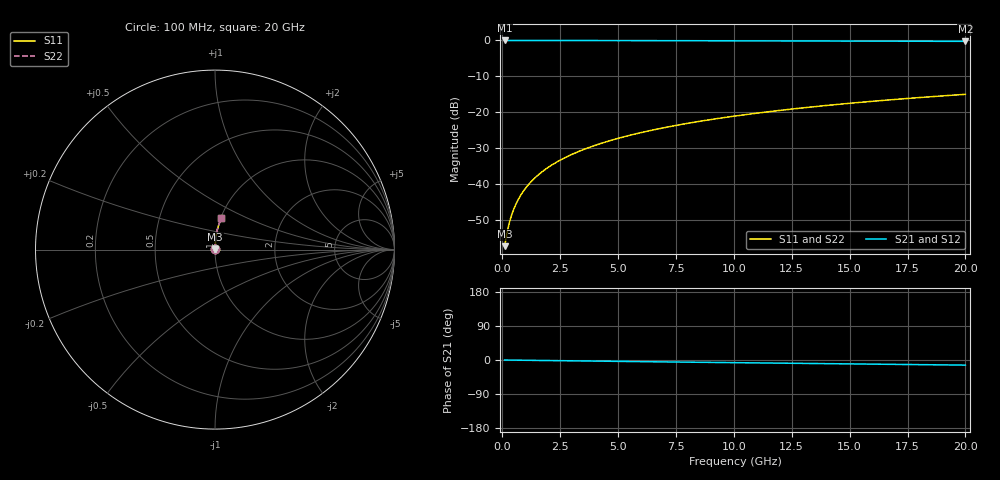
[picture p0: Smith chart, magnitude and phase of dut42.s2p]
! Touchstone file exported from HFSS 2024.1.0
!  File:  C:/UserFiles/LocalFiles/RDL_TSV_Batchsim/temp_RDL_bottom_42_1778692606.aedt
!  Generated:  01:19:20 AM May 14, 2026
!  Design:  RDL_bottom
!  Project:  temp_RDL_bottom_42_1778692606
!  Setup:  Setup1
!  Solution:  Sweep
! Variables:
!  dtsv = 10.80580581um
!  hbump = 3um
!  htsv = 65.14um
!  ldown = 133.52um
!  lrdl = 100um
!  p = 40
!  p1 = 51.97um
!  rhole = 1um
!  t = 450um
!  tdown = 3.66um
!  trdl = 3.915915916um
!  wdown = 15.35um
!  wrdl = 20um
# GHz S MA R 50.000000
! Terminal data exported
! Port[1] = RDL1_T1
! Port[2] = RDL1_T2
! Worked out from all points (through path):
!   200 points, 100 MHz to 20 GHz, reference 50 ohm
!   highest |S21| = -0.01 dB at 100 MHz (marker M1); lowest = -0.3 dB at 20 GHz (marker M2)
!   group delay of S21, straight-line fit = 1.86 ps
!   lowest |S11| = -57.4 dB at 100 MHz (marker M3), VSWR 1.00, Z = 50.1 + j0.0891 ohm
!   |S11| at or under -10 dB: start of sweep to end of sweep
!   |S22| runs from -57.4 to -15.0 dB; largest |S21 - S12| = 2.7e-15
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0.1  0.001353 41.1  0.999 -0.1  0.999 -0.1  0.001353 41.1
! Gamma 0 0 0 0
! Port Impedance 50 0 50 0
0.2  0.002053 59.5  0.999 -0.2  0.999 -0.2  0.002053 59.5
0.3  0.002845 67.9  0.9989 -0.2  0.9989 -0.2  0.002845 67.9
0.4  0.003661 72.5  0.9989 -0.3  0.9989 -0.3  0.003661 72.5
0.5  0.004486 75.5  0.9988 -0.4  0.9988 -0.4  0.004486 75.5
0.6  0.005315 77.6  0.9988 -0.4  0.9988 -0.4  0.005315 77.6
0.8  0.006982 80.3  0.9987 -0.6  0.9987 -0.6  0.006982 80.3
1.1  0.0095 82.7  0.9986 -0.8  0.9986 -0.8  0.0095 82.7
1.5  0.01288 84.4  0.9984 -1.1  0.9984 -1.1  0.01288 84.4
1.8  0.01543 85.1  0.9983 -1.3  0.9983 -1.3  0.01543 85.1
2.1  0.01799 85.7  0.9981 -1.5  0.9981 -1.5  0.01799 85.7
2.7  0.02313 86.3  0.9977 -2.0  0.9977 -2.0  0.02313 86.3
3.5  0.03003 86.8  0.9969 -2.6  0.9969 -2.6  0.03003 86.8
4.2  0.03611 86.9  0.9962 -3.1  0.9962 -3.1  0.03611 86.9
5  0.04311 86.9  0.9952 -3.6  0.9952 -3.6  0.04311 86.9
5.9  0.05106 86.7  0.9941 -4.3  0.9941 -4.3  0.05106 86.7
6.8  0.05906 86.4  0.9928 -4.9  0.9928 -4.9  0.05906 86.4
8.3  0.0725 85.8  0.9906 -5.9  0.9906 -5.9  0.0725 85.8
10.1  0.08873 84.9  0.9877 -7.1  0.9877 -7.1  0.08873 84.9
13.4  0.1186 82.9  0.9823 -9.3  0.9823 -9.3  0.1186 82.9
16.7  0.1481 80.7  0.9765 -11.4  0.9765 -11.4  0.1481 80.7
20  0.1772 78.5  0.9702 -13.5  0.9702 -13.5  0.1772 78.5
